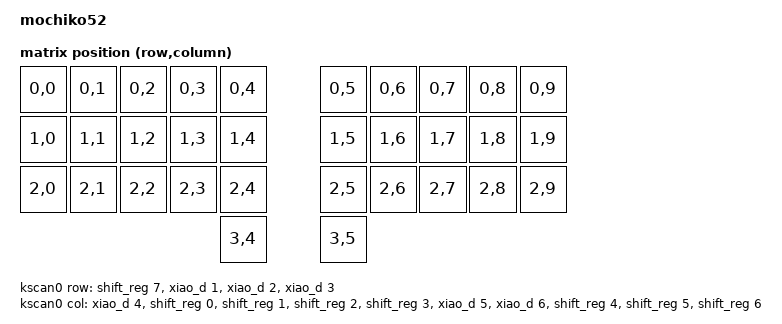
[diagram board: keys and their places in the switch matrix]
#include <dt-bindings/zmk/matrix_transform.h>
#include "./mochiko52-layouts.dtsi"

&xiao_serial { status = "disabled"; };

&pinctrl {
    spi0_default: spi0_default {
        group1 {
            psels = <NRF_PSEL(SPIM_SCK, 1, 14)>,
                    <NRF_PSEL(SPIM_MOSI, 1, 15)>,
                    <NRF_PSEL(SPIM_MISO, 1, 15)>;
        };
    };

    spi0_sleep: spi0_sleep {
        group1 {
            psels = <NRF_PSEL(SPIM_SCK, 1, 14)>,
                    <NRF_PSEL(SPIM_MOSI, 1, 15)>,
                    <NRF_PSEL(SPIM_MISO, 1, 15)>;
            low-power-enable;
        };
    };
};


&spi0 {
    status = "okay";
    compatible = "nordic,nrf-spim";
    pinctrl-0 = <&spi0_default>;
    pinctrl-1 = <&spi0_sleep>;
    pinctrl-names = "default", "sleep";

    cs-gpios = <&xiao_d 8 GPIO_ACTIVE_LOW>,<&xiao_d 7 GPIO_ACTIVE_LOW>;
    
        trackball: trackball@0 {
        compatible = "pixart,pmw3610";
        status = "okay";	
        spi-max-frequency = <2000000>;
        reg = <0>;
        irq-gpios = <&xiao_d 0 (GPIO_ACTIVE_LOW | GPIO_PULL_UP)>;
    };
        shift_reg: 595@1 {
        compatible = "zmk,gpio-595";
        status = "okay";
        gpio-controller;
        spi-max-frequency = <20000>;
        reg = <1>;
        #gpio-cells = <2>;
        ngpios = <16>;
    };


};


/ {
    // トラックボールのイベントリスナー設定
    trackball_listener {
        compatible = "zmk,input-listener";
        device = <&trackball>;
    };
};

/ {
    model = "mochiko52";
    compatible = "mochiko52";

    chosen {
        zmk,kscan = &kscan0;
        zmk,physical-layout = &mochiko52_physical_layout;
        transform = <&default_transform>;
   //     zmk,matrix_transform = &default_transform;
    };

    default_transform: keymap_transform_0 {
       compatible = "zmk,matrix-transform";
      rows = <4>;
       columns = <10>;

       map = <
           RC(0,0) RC(0,1) RC(0,2) RC(0,3) RC(0,4) RC(0,5) RC(0,6) RC(0,7) RC(0,8) RC(0,9)
           RC(1,0) RC(1,1) RC(1,2) RC(1,3) RC(1,4) RC(1,5) RC(1,6) RC(1,7) RC(1,8) RC(1,9)
           RC(2,0) RC(2,1) RC(2,2) RC(2,3) RC(2,4) RC(2,5) RC(2,6) RC(2,7) RC(2,8) RC(2,9)
                                           RC(3,4) RC(3,5)
           >;
    };
    
    kscan0: kscan0 {
           compatible = "zmk,kscan-gpio-matrix";
    //       label = "KSCAN";
           wakeup-source;
           debounce-press-ms = <1>;
           debounce-release-ms = <5>;

           diode-direction = "col2row";
          
           // 0 1 2 3 4 7 6 5
           col-gpios
               = <&xiao_d 4 (GPIO_ACTIVE_HIGH | GPIO_PULL_DOWN)>
               , <&shift_reg 0 (GPIO_ACTIVE_HIGH)>
               , <&shift_reg 1 (GPIO_ACTIVE_HIGH)>
               , <&shift_reg 2 (GPIO_ACTIVE_HIGH)>
               , <&shift_reg 3 (GPIO_ACTIVE_HIGH)>
               , <&xiao_d 5 (GPIO_ACTIVE_HIGH | GPIO_PULL_DOWN)>
               , <&xiao_d 6 (GPIO_ACTIVE_HIGH | GPIO_PULL_DOWN)>
               , <&shift_reg 4 (GPIO_ACTIVE_HIGH)>
               , <&shift_reg 5 (GPIO_ACTIVE_HIGH)>
               , <&shift_reg 6 (GPIO_ACTIVE_HIGH)>
               ;
           row-gpios
               = <&shift_reg 7  (GPIO_ACTIVE_HIGH | GPIO_PULL_DOWN)>
               , <&xiao_d 1  (GPIO_ACTIVE_HIGH | GPIO_PULL_DOWN)>
               , <&xiao_d 2  (GPIO_ACTIVE_HIGH | GPIO_PULL_DOWN)>
               , <&xiao_d 3  (GPIO_ACTIVE_HIGH | GPIO_PULL_DOWN)>
               ;
       
       };
       
        soft_off_wakers {
        compatible = "zmk,soft-off-wakeup-sources";
        wakeup-sources = <&kscan0>;
  };
};
